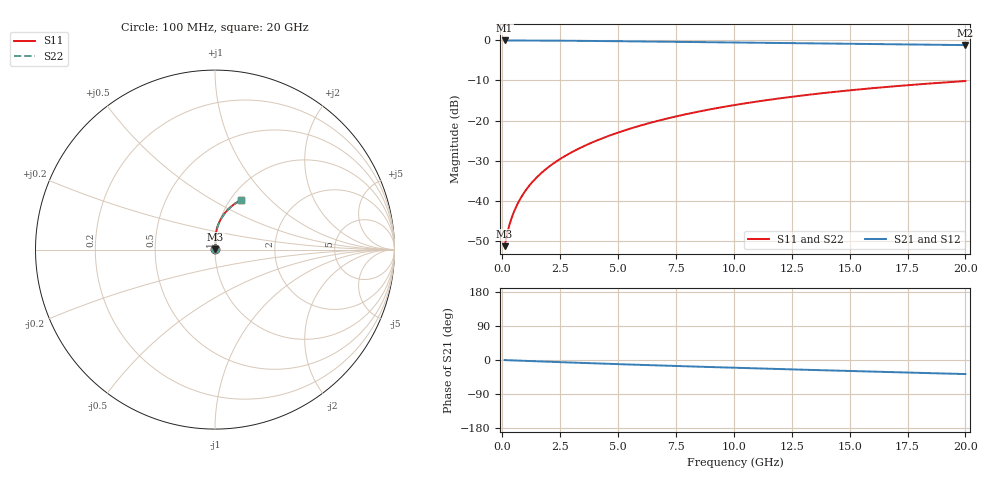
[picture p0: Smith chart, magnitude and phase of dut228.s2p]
! Touchstone file exported from HFSS 2024.1.0
!  File:  C:/UserFiles/LocalFiles/RDL_TSV_Batchsim/temp_RDL_top_228_1778688019.aedt
!  Generated:  12:02:36 AM May 14, 2026
!  Design:  RDL_top
!  Project:  temp_RDL_top_228_1778688019
!  Setup:  Setup1
!  Solution:  Sweep
! Variables:
!  dtsv = 10.80580581um
!  hbump = 3um
!  htsv = 51.68um
!  ldown = 100um
!  lrdl = 552.55um
!  p = 40
!  p1 = 48.35um
!  rhole = 1um
!  t = 450um
!  tdown = 3.915915916um
!  trdl = 3.85um
!  wdown = 15.38538539um
!  wrdl = 24.94um
# GHz S MA R 50.000000
! Terminal data exported
! Port[1] = Box2_T1
! Port[2] = Box2_T2
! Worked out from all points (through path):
!   200 points, 100 MHz to 20 GHz, reference 50 ohm
!   highest |S21| = -0.02 dB at 100 MHz (marker M1); lowest = -1.2 dB at 20 GHz (marker M2)
!   group delay of S21, straight-line fit = 5.08 ps
!   lowest |S11| = -51.3 dB at 100 MHz (marker M3), VSWR 1.01, Z = 50.2 + j0.151 ohm
!   |S11| at or under -10 dB: start of sweep to end of sweep
!   |S22| runs from -51.3 to -10.2 dB; largest |S21 - S12| = 1.9e-15
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0.1  0.002714 33.7  0.9977 -0.2  0.9977 -0.2  0.002714 33.7
! Gamma 0 0 0 0
! Port Impedance 50 0 50 0
0.2  0.00377 50.3  0.9975 -0.5  0.9975 -0.5  0.003771 50.3
0.3  0.004914 58.9  0.9973 -0.7  0.9973 -0.7  0.004914 58.9
0.4  0.00607 64.4  0.9972 -0.9  0.9972 -0.9  0.00607 64.3
0.5  0.00724 68.3  0.997 -1.2  0.997 -1.2  0.00724 68.3
0.6  0.008428 71.3  0.9968 -1.4  0.9968 -1.4  0.008428 71.3
0.8  0.01086 75.6  0.9965 -1.8  0.9965 -1.8  0.01086 75.6
1.1  0.0146 79.6  0.9959 -2.5  0.9959 -2.5  0.0146 79.6
1.3  0.01715 81.4  0.9954 -3.0  0.9954 -3.0  0.01715 81.4
1.6  0.02105 83.4  0.9945 -3.6  0.9945 -3.6  0.02105 83.3
2.1  0.02772 85.5  0.9928 -4.8  0.9928 -4.8  0.02772 85.4
2.7  0.03603 87.0  0.9902 -6.1  0.9902 -6.1  0.03601 86.9
3.5  0.04761 88.0  0.986 -7.8  0.986 -7.8  0.04758 87.9
4.2  0.05821 88.2  0.9818 -9.3  0.9818 -9.3  0.05816 88.2
5  0.07082 88.1  0.9767 -10.9  0.9767 -10.9  0.07075 88.0
6.8  0.1006 86.3  0.9642 -14.5  0.9642 -14.5  0.1005 86.2
8.4  0.1281 83.9  0.9528 -17.5  0.9528 -17.5  0.1278 83.8
10.1  0.1574 80.9  0.9408 -20.6  0.9408 -20.6  0.1571 80.8
11.7  0.1846 77.9  0.9296 -23.4  0.9296 -23.4  0.1842 77.8
13.4  0.2127 74.6  0.9179 -26.3  0.9179 -26.3  0.2122 74.5
16.7  0.2642 68.4  0.8955 -31.8  0.8955 -31.8  0.2636 68.3
20  0.311 62.5  0.8733 -37.1  0.8733 -37.1  0.3102 62.4
